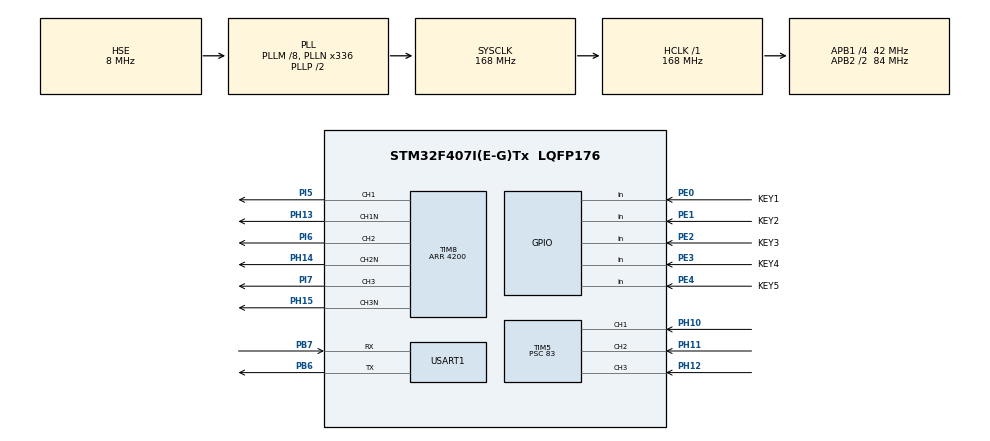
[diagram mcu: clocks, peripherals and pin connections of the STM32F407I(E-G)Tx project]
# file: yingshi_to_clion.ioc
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Mcu.Family=STM32F4
Mcu.Name=STM32F407I(E-G)Tx
Mcu.Package=LQFP176
NVIC.PriorityGroup=NVIC_PRIORITYGROUP_4
NVIC.TIM5_IRQn=true\:0\:0\:false\:false\:true\:true\:true\:true
NVIC.TIM8_CC_IRQn=true\:0\:0\:false\:false\:true\:true\:true\:true
PA13.Mode=Serial_Wire
PA13.Signal=SYS_JTMS-SWDIO
PA14.Mode=Serial_Wire
PA14.Signal=SYS_JTCK-SWCLK
PB6.Mode=Asynchronous
PB6.Signal=USART1_TX
PB7.Mode=Asynchronous
PB7.Signal=USART1_RX
PE0.GPIO_Label=KEY1
PE0.Signal=GPIO_Input
PE1.GPIO_Label=KEY2
PE1.Signal=GPIO_Input
PE2.GPIO_Label=KEY3
PE2.Signal=GPIO_Input
PE3.GPIO_Label=KEY4
PE3.Signal=GPIO_Input
PE4.GPIO_Label=KEY5
PE4.Signal=GPIO_Input
PH0-OSC_IN.Mode=HSE-External-Oscillator
PH0-OSC_IN.Signal=RCC_OSC_IN
PH1-OSC_OUT.Mode=HSE-External-Oscillator
PH1-OSC_OUT.Signal=RCC_OSC_OUT
PH10.Signal=S_TIM5_CH1
PH11.Signal=S_TIM5_CH2
PH12.Signal=S_TIM5_CH3
PH13.Mode=PWM Generation1 CH1 CH1N
PH13.Signal=TIM8_CH1N
PH14.Mode=PWM Generation2 CH2 CH2N
PH14.Signal=TIM8_CH2N
PH15.Mode=PWM Generation3 CH3 CH3N
PH15.Signal=TIM8_CH3N
PI5.Signal=S_TIM8_CH1
PI6.Signal=S_TIM8_CH2
PI7.Signal=S_TIM8_CH3
ProjectManager.HeapSize=0x200
ProjectManager.StackSize=0x400
ProjectManager.TargetToolchain=STM32CubeIDE
RCC.48MHZClocksFreq_Value=84000000
RCC.AHBFreq_Value=168000000
RCC.APB1CLKDivider=RCC_HCLK_DIV4
RCC.APB1Freq_Value=42000000
RCC.APB1TimFreq_Value=84000000
RCC.APB2CLKDivider=RCC_HCLK_DIV2
RCC.APB2Freq_Value=84000000
RCC.APB2TimFreq_Value=168000000
RCC.CortexFreq_Value=168000000
RCC.HCLKFreq_Value=168000000
RCC.HSE_VALUE=8000000
RCC.HSI_VALUE=16000000
RCC.LSE_VALUE=32768
RCC.PLLM=8
RCC.PLLN=336
RCC.PLLSourceVirtual=RCC_PLLSOURCE_HSE
RCC.SYSCLKFreq_VALUE=168000000
RCC.SYSCLKSource=RCC_SYSCLKSOURCE_PLLCLK
RCC.VCOOutputFreq_Value=336000000
SH.S_TIM5_CH1.0=TIM5_CH1,Xored_Inputs_Hall_Sensor_Interface
SH.S_TIM5_CH2.0=TIM5_CH2,Xored_Inputs_Hall_Sensor_Interface
SH.S_TIM5_CH3.0=TIM5_CH3,Xored_Inputs_Hall_Sensor_Interface
SH.S_TIM8_CH1.0=TIM8_CH1,PWM Generation1 CH1 CH1N
SH.S_TIM8_CH2.0=TIM8_CH2,PWM Generation2 CH2 CH2N
SH.S_TIM8_CH3.0=TIM8_CH3,PWM Generation3 CH3 CH3N
TIM5.Prescaler=83
TIM8.Channel-PWM\ Generation1\ CH1\ CH1N=TIM_CHANNEL_1
TIM8.Channel-PWM\ Generation2\ CH2\ CH2N=TIM_CHANNEL_2
TIM8.Channel-PWM\ Generation3\ CH3\ CH3N=TIM_CHANNEL_3
TIM8.CounterMode=TIM_COUNTERMODE_CENTERALIGNED1
TIM8.OffStateIDLEMode=TIM_OSSI_ENABLE
TIM8.OffStateRunMode=TIM_OSSR_ENABLE
TIM8.Period=4200
USART1.VirtualMode=VM_ASYNC
VP_TIM8_VS_ClockSourceINT.Mode=Internal
board=custom

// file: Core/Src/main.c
/* USER CODE BEGIN Header */
/**
  ******************************************************************************
  * @file           : main.c
  * @brief          : Main program body
  ******************************************************************************
  * @attention
  *
  * Copyright (c) 2023 STMicroelectronics.
  * All rights reserved.
  *
  * This software is licensed under terms that can be found in the LICENSE file
  * in the root directory of this software component.
  * If no LICENSE file comes with this software, it is provided AS-IS.
  *
  ******************************************************************************
  */
/* USER CODE END Header */
#include "main.h"
#include "tim.h"
#include "usart.h"
#include "gpio.h"

/* USER CODE BEGIN Includes */
#include "bsp_bldc.h"
#include "bsp_hall.h"
#include "retarget.h"
#include <math.h>

/* USER CODE END Includes */

/* USER CODE BEGIN PTD */
#define TIMECNT   800
/* USER CODE END PTD */

/* USER CODE BEGIN PD */
float MotorSpeed  = 0.0f ;// ???????,?????????,

_Bool isTimeUp    = 0;     // ??????
uint32_t timeTick = 0;   // ??????

/* USER CODE END PD */

/* USER CODE BEGIN PM */
extern MotorSta_Typedef Motor_State; // ??????????
extern MotorDir_Typedef Motor_Dir;  // ?????? ,?????
extern float PWM_Duty;        // 25%?????

extern MotorDir_Typedef RT_hallDir; // ????????????????????
/* USER CODE END PM */

void SystemClock_Config(void);

int main(void)
{
  /* USER CODE BEGIN 1 */
    float Speed_hz  = 0 ;
  /* USER CODE END 1 */

  /* MCU Configuration--------------------------------------------------------*/

  /* Reset of all peripherals, Initializes the Flash interface and the Systick. */
  HAL_Init();

  /* Configure the system clock */
  SystemClock_Config();

  /* Initialize all configured peripherals */
  MX_GPIO_Init();
  MX_TIM5_Init();
  MX_USART1_UART_Init();
  MX_TIM8_Init();
  /* USER CODE BEGIN 2 */
//    BLDCMOTOR_TIMx_Init();
    HALLSensor_TIMx_Init();
    RetargetInit(&huart1);

    printf("\r\nhall speed process start \n");
    printf(" <- 直流无刷电机基础驱动_HALL传感器测速 -> \n");
    printf(" <- 定时器的霍尔传感器接口功能,在CH1的比较器里面保存有两次边沿之间的\n");
    printf("计数值,根据这些计数值就可以测量出电机转速 -> \n");
    printf("正负代表方向 -> \n");
    Motor_Dir = MOTOR_DIR_CW;
    timeTick = TIMECNT;
    HAL_Delay(1000);
    MotorSpeed = 0.15f;
    BLDCMotor_SetSpeed(MotorSpeed);
    BLDCMotor_Start();
    printf("按键KEY1启动电机\n");
//    MotorSpeed = 0.15f;
//    BLDCMotor_SetSpeed(MotorSpeed);
//    BLDCMotor_Start();
//    printf("按键KEY1启动电机\n");

  /* USER CODE END 2 */

  /* Infinite loop */
  /* USER CODE BEGIN WHILE */
  while (1)
  {

      if( isTimeUp )
      {
          uint32_t tmpCC = 0;
          if(RT_hallcnt == 0) // 避免除数为0
          {
              Speed_hz = 0;
          }
          else
          {
              tmpCC = RT_hallcomp / RT_hallcnt; // tmpCC:两次捕获之间的捕获值,
              Speed_hz = (float)HALL_TIM_FREQ/(float)(tmpCC);
          }
          RT_hallcomp = 0;
          RT_hallcnt  = 0;
          /* 霍尔信号的频率,转速rps,转速rpm */
          if(RT_hallDir == MOTOR_DIR_CW)
              Speed_hz = fabs(Speed_hz);
          else
              Speed_hz = -fabs(Speed_hz);
          /* 未做任何滤波的速度值 */
          printf("%.3f Hz, %.2f RPS, %.2fRPM\n", Speed_hz, Speed_hz/PPR, (Speed_hz/PPR)*60);

          isTimeUp = 0;
          timeTick = TIMECNT;
      }
    /* USER CODE END WHILE */

  }
}

void SystemClock_Config(void)
{
    RCC_OscInitTypeDef RCC_OscInitStruct = {0};
    RCC_ClkInitTypeDef RCC_ClkInitStruct = {0};
    __HAL_RCC_PWR_CLK_ENABLE();                                     // 使能PWR时钟
    __HAL_PWR_VOLTAGESCALING_CONFIG(PWR_REGULATOR_VOLTAGE_SCALE1);  // 设置调压器输出电压级别1
    RCC_OscInitStruct.OscillatorType = RCC_OSCILLATORTYPE_HSE;      // 外部晶振，8MHz
    RCC_OscInitStruct.HSEState       = RCC_HSE_ON;                  // 打开HSE
    RCC_OscInitStruct.PLL.PLLState   = RCC_PLL_ON;                  // 打开PLL
    RCC_OscInitStruct.PLL.PLLSource  = RCC_PLLSOURCE_HSE;           // PLL时钟源选择HSE
    RCC_OscInitStruct.PLL.PLLM = 8;                                 // 8分频MHz
    RCC_OscInitStruct.PLL.PLLN = 336;                               // 336倍频
    RCC_OscInitStruct.PLL.PLLP = RCC_PLLP_DIV2;                     // 2分频，得到168MHz主时钟
    RCC_OscInitStruct.PLL.PLLQ = 7;                                 // USB/SDIO/随机数产生器等的主PLL分频系数
    HAL_RCC_OscConfig(&RCC_OscInitStruct);
    RCC_ClkInitStruct.ClockType = RCC_CLOCKTYPE_HCLK | RCC_CLOCKTYPE_SYSCLK
                                  | RCC_CLOCKTYPE_PCLK1 | RCC_CLOCKTYPE_PCLK2;
    RCC_ClkInitStruct.SYSCLKSource   = RCC_SYSCLKSOURCE_PLLCLK;     // 系统时钟：168MHz
    RCC_ClkInitStruct.AHBCLKDivider  = RCC_SYSCLK_DIV1;             // AHB时钟： 168MHz
    RCC_ClkInitStruct.APB1CLKDivider = RCC_HCLK_DIV4;               // APB1时钟：42MHz
    RCC_ClkInitStruct.APB2CLKDivider = RCC_HCLK_DIV2;               // APB2时钟：84MHz
    HAL_RCC_ClockConfig(&RCC_ClkInitStruct, FLASH_LATENCY_5);
    HAL_RCC_EnableCSS();                                            // 使能CSS功能，优先使用外部晶振，内部时钟源为备用
    // HAL_RCC_GetHCLKFreq()/1000    1ms中断一次
    // HAL_RCC_GetHCLKFreq()/100000	 10us中断一次
    // HAL_RCC_GetHCLKFreq()/1000000 1us中断一次
    HAL_SYSTICK_Config(HAL_RCC_GetHCLKFreq() / 1000);               // 配置并启动系统滴答定时器
    /* 系统滴答定时器时钟源 */
    HAL_SYSTICK_CLKSourceConfig(SYSTICK_CLKSOURCE_HCLK);
    /* 系统滴答定时器中断优先级配置 */
    HAL_NVIC_SetPriority(SysTick_IRQn, 0, 0);
}

/* USER CODE BEGIN 4 */
void HAL_SYSTICK_Callback()
{
    if(timeTick != 0)
        timeTick--;
    if(timeTick == 0)
    {
        isTimeUp = 1;
    }

}
/* USER CODE END 4 */

void Error_Handler(void)
{
  __disable_irq();
  while (1)
  {
  }
}
